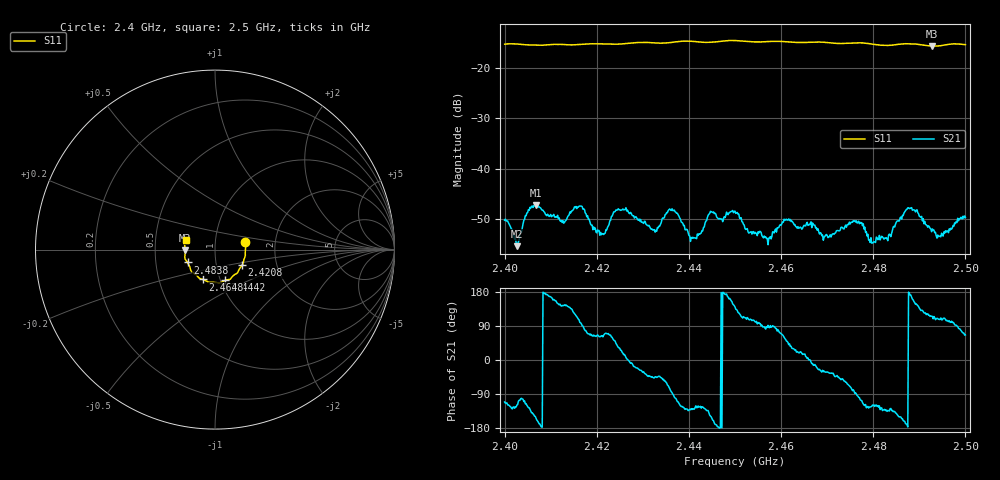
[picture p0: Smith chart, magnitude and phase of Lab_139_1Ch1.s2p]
# Hz S RI R 50
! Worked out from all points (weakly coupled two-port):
!   601 points, 2.4 GHz to 2.5 GHz, reference 50 ohm
!   highest |S21| = -47.23 dB at 2.4068 GHz (marker M1); lowest = -55.4 dB at 2.4027 GHz (marker M2)
!   lowest |S11| = -15.6 dB at 2.4928 GHz (marker M3), VSWR 1.40, Z = 35.8 - j0.36 ohm
!   |S11| at or under -10 dB: start of sweep to end of sweep
!   S12 and S22 are empty: the file has one direction only
!   S11 on the Smith chart (normalised r, x): 2.4 GHz: 1.40, +0.12; 2.4208 GHz: 1.33, -0.24; 2.4442 GHz: 1.05, -0.37; 2.4648 GHz: 0.83, -0.28; 2.4838 GHz: 0.73, -0.11; 2.5 GHz: 0.72, +0.08
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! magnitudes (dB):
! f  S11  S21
! 2.4 GHz  -15.2  -50.3
! 2.4027 GHz  -15.2  -55.4
! 2.4068 GHz  -15.4  -47.2
! 2.4127 GHz  -15.3  -50.4
! 2.4167 GHz  -15.3  -47.5
! 2.4208 GHz  -15.2  -52.7
! 2.4247 GHz  -15.2  -48.0
! 2.4333 GHz  -15.0  -51.8
! 2.4363 GHz  -14.9  -48.0
! 2.4412 GHz  -14.7  -53.8
! 2.4442 GHz  -14.9  -49.3
! 2.45 GHz  -14.5  -48.5
! 2.4567 GHz  -14.7  -53.6
! 2.4612 GHz  -14.8  -50.1
! 2.4648 GHz  -14.9  -51.5
! 2.4667 GHz  -14.8  -51.7
! 2.4697 GHz  -14.9  -53.2
! 2.4833 GHz  -15.5  -53.2
! 2.4838 GHz  -15.4  -53.5
! 2.4878 GHz  -15.1  -47.9
! 2.4928 GHz  -15.6  -52.0
! 2.5 GHz  -15.3  -49.7
